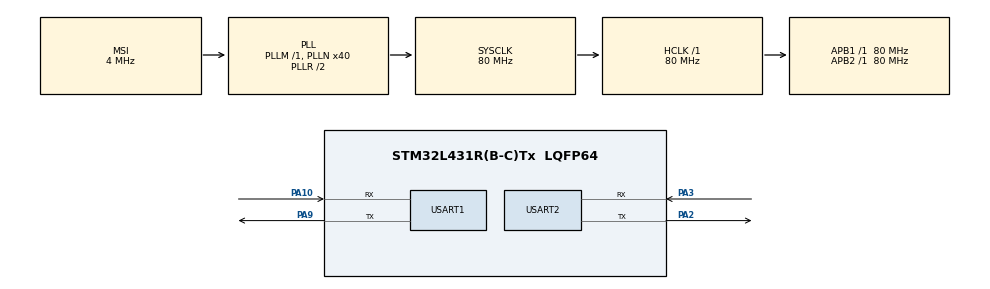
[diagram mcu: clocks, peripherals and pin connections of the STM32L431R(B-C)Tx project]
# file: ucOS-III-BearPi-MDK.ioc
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Dma.Request0=USART2_TX
Dma.USART2_TX.0.Direction=DMA_MEMORY_TO_PERIPH
Dma.USART2_TX.0.Instance=DMA1_Channel7
Dma.USART2_TX.0.MemDataAlignment=DMA_MDATAALIGN_BYTE
Dma.USART2_TX.0.MemInc=DMA_MINC_ENABLE
Dma.USART2_TX.0.Mode=DMA_NORMAL
Dma.USART2_TX.0.PeriphDataAlignment=DMA_PDATAALIGN_BYTE
Dma.USART2_TX.0.PeriphInc=DMA_PINC_DISABLE
Dma.USART2_TX.0.Priority=DMA_PRIORITY_LOW
Mcu.Family=STM32L4
Mcu.Name=STM32L431R(B-C)Tx
Mcu.Package=LQFP64
NVIC.DMA1_Channel7_IRQn=true\:0\:0\:false\:false\:true\:false\:true
NVIC.PriorityGroup=NVIC_PRIORITYGROUP_4
NVIC.USART1_IRQn=true\:3\:0\:true\:false\:true\:true\:true
NVIC.USART2_IRQn=true\:2\:0\:true\:false\:true\:true\:true
PA10.Mode=Asynchronous
PA10.Signal=USART1_RX
PA2.Mode=Asynchronous
PA2.Signal=USART2_TX
PA3.Mode=Asynchronous
PA3.Signal=USART2_RX
PA9.Mode=Asynchronous
PA9.Signal=USART1_TX
PH0-OSC_IN\ (PH0).Mode=HSE-External-Oscillator
PH0-OSC_IN\ (PH0).Signal=RCC_OSC_IN
PH1-OSC_OUT\ (PH1).Mode=HSE-External-Oscillator
PH1-OSC_OUT\ (PH1).Signal=RCC_OSC_OUT
ProjectManager.HeapSize=0x200
ProjectManager.StackSize=0x400
ProjectManager.TargetToolchain=MDK-ARM V5
RCC.AHBFreq_Value=80000000
RCC.APB1Freq_Value=80000000
RCC.APB1TimFreq_Value=80000000
RCC.APB2Freq_Value=80000000
RCC.APB2TimFreq_Value=80000000
RCC.CortexFreq_Value=80000000
RCC.HCLKFreq_Value=80000000
RCC.HSE_VALUE=8000000
RCC.HSI48_VALUE=48000000
RCC.HSI_VALUE=16000000
RCC.LSE_VALUE=32768
RCC.MSI_VALUE=4000000
RCC.PLLN=40
RCC.SYSCLKFreq_VALUE=80000000
RCC.SYSCLKSource=RCC_SYSCLKSOURCE_PLLCLK
RCC.VCOOutputFreq_Value=160000000
USART1.VirtualMode-Asynchronous=VM_ASYNC
USART2.VirtualMode-Asynchronous=VM_ASYNC
board=custom

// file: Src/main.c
/* USER CODE BEGIN Header */
/**
  ******************************************************************************
  * @file           : main.c
  * @brief          : Main program body
  ******************************************************************************
  * @attention
  *
  * <h2><center>&copy; Copyright (c) 2020 STMicroelectronics.
  * All rights reserved.</center></h2>
  *
  * This software component is licensed by ST under BSD 3-Clause license,
  * the "License"; You may not use this file except in compliance with the
  * License. You may obtain a copy of the License at:
  *                        opensource.org/licenses/BSD-3-Clause
  *
  ******************************************************************************
  */
/* USER CODE END Header */

#include "main.h"
#include "dma.h"
#include "usart.h"
#include "gpio.h"

/* USER CODE BEGIN Includes */
#include <stdio.h>
#include "os.h"
/* USER CODE END Includes */

/* USER CODE BEGIN PV */
OS_TCB   app_task;
CPU_STK  app_task_stack[512];

__weak void application_entry(void *p_arg)
{
	OS_ERR  err;

	(void)p_arg;

	while(1)
	{
        printf("kernel is running...\r\n");
	    OSTimeDly(1000, OS_OPT_TIME_DLY, &err);
	}
}

/* USER CODE END PV */

void SystemClock_Config(void);

int main(void)
{
  /* USER CODE BEGIN 1 */
    OS_ERR  err;

  /* USER CODE END 1 */

  /* MCU Configuration--------------------------------------------------------*/

  /* Reset of all peripherals, Initializes the Flash interface and the Systick. */
  HAL_Init();

  /* Configure the system clock */
  SystemClock_Config();

  /* Initialize all configured peripherals */
  MX_GPIO_Init();
  MX_USART1_UART_Init();
  MX_DMA_Init();
  MX_USART2_UART_Init();
  /* USER CODE BEGIN 2 */
    printf("uc/OS-III Port On BearPi Board By Mculover666\r\n");

    // ucos-iii version
    printf("uc/OS-III Version:%d\r\n", OSVersion(&err));

    // init the ucos-iii kernel
    OSInit(&err);
    printf("OSInit result: %d\r\n", err);

    // create application task
    OSTaskCreate((OS_TCB       *)&app_task,
                 (CPU_CHAR     *)"app_task",
                 (OS_TASK_PTR   )application_entry,
                 (void         *)0,
                 (OS_PRIO       )1,
                 (CPU_STK      *)&app_task_stack[0],
                 (CPU_STK_SIZE  )512 / 10,
                 (CPU_STK_SIZE  )512,
                 (OS_MSG_QTY    )0,
                 (OS_TICK       )0,
                 (void         *)0,
                 (OS_OPT        )(OS_OPT_TASK_STK_CHK | OS_OPT_TASK_STK_CLR),
                 (OS_ERR       *)&err);

    printf("OSInit result: %d\r\n", err);

    // start the ucos-iii kernel
    OSStart(&err);

    (void)&err;

  /* USER CODE END 2 */

  /* Infinite loop */
  while (1)
  {

  }
}

void SystemClock_Config(void)
{
  RCC_OscInitTypeDef RCC_OscInitStruct = {0};
  RCC_ClkInitTypeDef RCC_ClkInitStruct = {0};
  RCC_PeriphCLKInitTypeDef PeriphClkInit = {0};

  /** Initializes the CPU, AHB and APB busses clocks
  */
  RCC_OscInitStruct.OscillatorType = RCC_OSCILLATORTYPE_MSI;
  RCC_OscInitStruct.MSIState = RCC_MSI_ON;
  RCC_OscInitStruct.MSICalibrationValue = 0;
  RCC_OscInitStruct.MSIClockRange = RCC_MSIRANGE_6;
  RCC_OscInitStruct.PLL.PLLState = RCC_PLL_ON;
  RCC_OscInitStruct.PLL.PLLSource = RCC_PLLSOURCE_MSI;
  RCC_OscInitStruct.PLL.PLLM = 1;
  RCC_OscInitStruct.PLL.PLLN = 40;
  RCC_OscInitStruct.PLL.PLLP = RCC_PLLP_DIV7;
  RCC_OscInitStruct.PLL.PLLQ = RCC_PLLQ_DIV2;
  RCC_OscInitStruct.PLL.PLLR = RCC_PLLR_DIV2;
  if (HAL_RCC_OscConfig(&RCC_OscInitStruct) != HAL_OK)
  {
    Error_Handler();
  }
  /** Initializes the CPU, AHB and APB busses clocks
  */
  RCC_ClkInitStruct.ClockType = RCC_CLOCKTYPE_HCLK|RCC_CLOCKTYPE_SYSCLK
                              |RCC_CLOCKTYPE_PCLK1|RCC_CLOCKTYPE_PCLK2;
  RCC_ClkInitStruct.SYSCLKSource = RCC_SYSCLKSOURCE_PLLCLK;
  RCC_ClkInitStruct.AHBCLKDivider = RCC_SYSCLK_DIV1;
  RCC_ClkInitStruct.APB1CLKDivider = RCC_HCLK_DIV1;
  RCC_ClkInitStruct.APB2CLKDivider = RCC_HCLK_DIV1;

  if (HAL_RCC_ClockConfig(&RCC_ClkInitStruct, FLASH_LATENCY_4) != HAL_OK)
  {
    Error_Handler();
  }
  PeriphClkInit.PeriphClockSelection = RCC_PERIPHCLK_USART1|RCC_PERIPHCLK_USART2;
  PeriphClkInit.Usart1ClockSelection = RCC_USART1CLKSOURCE_PCLK2;
  PeriphClkInit.Usart2ClockSelection = RCC_USART2CLKSOURCE_PCLK1;
  if (HAL_RCCEx_PeriphCLKConfig(&PeriphClkInit) != HAL_OK)
  {
    Error_Handler();
  }
  /** Configure the main internal regulator output voltage
  */
  if (HAL_PWREx_ControlVoltageScaling(PWR_REGULATOR_VOLTAGE_SCALE1) != HAL_OK)
  {
    Error_Handler();
  }
}

void Error_Handler(void)
{
}

/************************ (C) COPYRIGHT STMicroelectronics *****END OF FILE****/
